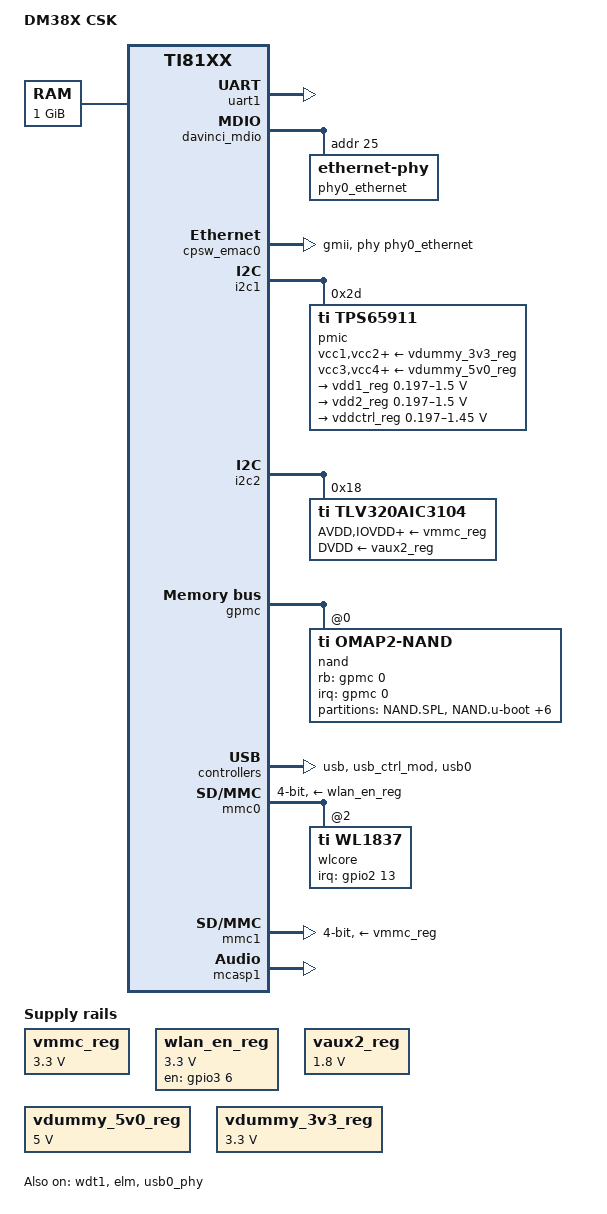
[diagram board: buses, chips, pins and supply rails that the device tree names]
/*
 * This program is free software; you can redistribute it and/or modify
 * it under the terms of the GNU General Public License version 2 as
 * published by the Free Software Foundation.
 */
/dts-v1/;

#include "ti81xx.dtsi"
#include <dt-bindings/interrupt-controller/irq.h>

/ {
	model = "DM38X CSK";
	compatible = "ti,dm38x-csk", "ti,ti81xx";

	memory {
		device_type = "memory";
		reg = <0x80000000 0x40000000>;	/* 1 GB */
	};

	vmmc_reg: regulator@0 {
		/* TO DO */
		/* Confirm if max and min voltages need to be different */
		compatible = "regulator-fixed";
		regulator-name = "vmmc";
		regulator-min-microvolt = <3300000>;
		regulator-max-microvolt = <3300000>;
		regulator-always-on;
	};

	wlan_en_reg: fixedregulator@1 {
		compatible = "regulator-fixed";
		regulator-name = "wlan-en-regulator";
		regulator-min-microvolt = <3300000>;
		regulator-max-microvolt = <3300000>;
		startup-delay-us = <70000>;

		/* WLAN_EN GPIO for this board GP2[6] */
		/* gpio0-gpio3 are defined as gpio1-gpio4 in ti81xx.dtsi.*/
		gpio = <&gpio3 6 GPIO_ACTIVE_HIGH>;
		enable-active-high;
	};

	vaux2_reg: regulator@10 {
		compatible = "regulator-fixed";
		regulator-name = "vaux2";
		regulator-min-microvolt = <1800000>;
		regulator-max-microvolt = <1800000>;
		regulator-always-on;
	};

	vdummy_5v0_reg: regulator@11 {
		compatible = "regulator-fixed";
		regulator-name = "vdummy_5v0";
		regulator-min-microvolt = <5000000>;
		regulator-max-microvolt = <5000000>;
		regulator-always-on;
	};

	vdummy_3v3_reg: regulator@12 {
		compatible = "regulator-fixed";
		regulator-name = "vdummy_3v3";
		regulator-min-microvolt = <3300000>;
		regulator-max-microvolt = <3300000>;
		regulator-always-on;
	};

	sound {
		compatible = "ti,ti81xx-audio";
		ti,model = "TI81XX-CSK";
		ti,audio-codec = <&tlv320aic3104>;
		ti,mcasp-controller = <&mcasp1>;
		ti,codec-clock-rate = <24576000>;
		ti,audio-routing =
			"MIC2L", "Mic Bias",
			"MIC2R", "Mic Bias";
	};

	cpus {
		cpu@0 {
			cpu-supply = <&vdd1_reg>;
		};
	};
};

&ti81xx_pincntl {
	nandflash_pins_s0: nandflash_pins_s0 {
		pinctrl-single,pins = <
			0x1FC (PULL_UP | MUX_MODE0)/* GPMC_ADV_ALE */
			0x1E4 (PULL_UP | MUX_MODE0)/* GPMC_CS0 */
			0x1F0 (PULL_UP | MUX_MODE0)/* GPMC_CS3 */
			0x160 (MUX_MODE0)/* GPMC_D0-D15 */
			0x164 (MUX_MODE0)
			0x168 (MUX_MODE0)
			0x16C (MUX_MODE0)
			0x170 (MUX_MODE0)
			0x174 (MUX_MODE0)
			0x178 (MUX_MODE0)
			0x17C (MUX_MODE0)
			0x180 (MUX_MODE0)
			0x184 (MUX_MODE0)
			0x188 (MUX_MODE0)
			0x18C (MUX_MODE0)
			0x190 (MUX_MODE0)
			0x194 (MUX_MODE0)
			0x198 (MUX_MODE0)
			0x19C (MUX_MODE0)
			0x200 (PULL_UP | MUX_MODE0)/* GPMC_OE_RE */
			0x204 (PULL_UP | MUX_MODE0)/* GPMC_WE */
			0x208 (PULL_DOWN | MUX_MODE0)/* GPMC_BE0_CLE */
			0x210 (PULL_UP | MUX_MODE0)
		>;
	};

	i2c0_pins: pinmux_i2c0_pins{
		pinctrl-single,pins =<
			0x418 (PULL_UP | MUX_MODE0)
			0x41c (PULL_UP | MUX_MODE0)
		>;
	};

	mmc0_pins: pinmux_mmc0_pins {
		pinctrl-single,pins = <
			0x1C (PULL_UP | MUX_MODE0)      /* SD0_CLK */
			0x20 (PULL_UP | MUX_MODE0)      /* SD0_CMD */
			0x24 (PULL_UP | MUX_MODE0)      /* SD0_DAT[0] */
			0x28 (PULL_UP | MUX_MODE0)      /* SD0_DAT[1] */
			0x2C (PULL_UP | MUX_MODE0)      /* SD0_DAT[2] */
			0x30 (PULL_UP | MUX_MODE0)      /* SD0_DAT[3] */
		>;
	};

	wlan_pins_default: pinmux_wlan_pins_default {
		pinctrl-single,pins = <
			0x1A4 (MUX_MODE7)		/* GP2[6] Ball:M2 WLAN_EN. OUTPUT PULLDOWN */
			0x1A8 (PULL_UP | MUX_MODE7) 	/* GP1[13] Ball:M3 WLAN_IRQ. INPUT PULLUP */
		>;
	};

	/* BT pins need to be in right state even if BT is not used, else they can interfere with WLAN operation */
	bt_pins_default: pinmux_bt_pins_default {
		pinctrl-single,pins = <
			0x1A0 (MUX_MODE7)		/* GP2[5] Ball:M1 BT_EN. OUTPUT PULLDOWN */
			0x54  (PULL_UP | MUX_MODE0)	/* MCA[0]_AXR[1] Ball:AE31 Connects to BT_AUD_OUT Input pin PULLDOWN */
		>;
	};

	mmc1_pins: pinmux_mmc1_pins {
		pinctrl-single,pins = <
			0x00 (PULL_UP | MUX_MODE0)      /* SD1_CLK */
			0x04 (PULL_UP | MUX_MODE0)      /* SD1_CMD */
			0x08 (PULL_UP | MUX_MODE0)      /* SD1_DAT[0] */
			0x0C (PULL_UP | MUX_MODE0)      /* SD1_DAT[1] */
			0x10 (PULL_UP | MUX_MODE0)      /* SD1_DAT[2] */
			0x14 (PULL_UP | MUX_MODE0)      /* SD1_DAT[3] */
			0x13C (PULL_UP | MUX_MODE1)     /* SD1_SDCD */
		>;
	};

	usb0_pins: pinmux_usb0_pins {
		pinctrl-single,pins = < 0x434 (PULL_UP | MUX_MODE0) >;
	};

	i2c1_pins: pinmux_i2c1_pins{
		pinctrl-single,pins =<
			0x134 (MUX_MODE0)
			0x138 (MUX_MODE0)
		>;
	};

	mcasp1_pins: pinmux_mcasp1_pins{
		pinctrl-single,pins =<
			0x038 (PULL_DOWN | MUX_MODE2)
			0x078 (PULL_DOWN | MUX_MODE0)
			0x07c (PULL_DOWN | MUX_MODE0)
			0x088 (PULL_DOWN | MUX_MODE0)
			0x08c (PULL_DOWN | MUX_MODE0)

		>;
	};

	tps65911_nmi_pin: pinmux_nmi_pin {
		pinctrl-single,pins = < 0x410 (PULL_UP | MUX_MODE0) >;
	};
};

&edma {
        ti,edma-memcpy-channels = <4 5 6 7 12 13 14 15 40 41 46 47 54 55 56 57 62 63>;
	ti,edma-reserved-slot-ranges = <0 2>, <4 4>, <12 12>, <26 13>, <40 2>, <46 2>, <54 4>, <62 2>;
};

&uart1 {
	status = "okay";
};

&wdt1 {
	status = "okay";
};

&davinci_mdio {
	phy0_ethernet: ethernet-phy@25 {
		reg = <25>;
		phy_mmd_indirect_write;
		ti,rx-internal-delay = <8>;
		ti,tx-internal-delay = <0xa>;
		ti,fifo-depth = <1>;
	};
};

&cpsw_emac0 {
	phy_id = <&davinci_mdio>, <25>;
	phy-mode = "gmii";
	phy-handle = <&phy0_ethernet>;
};

&i2c1 {
	pinctrl-names = "default";
	pinctrl-0 = <&i2c0_pins>, <&tps65911_nmi_pin>;

	pmic: tps65911@2d {
		compatible = "ti,tps65911";
		reg = <0x2d>;

		interrupts = <7>;
		#interrupt-cells = <2>;
		interrupt-controller;

		ti,system-power-controller;

		#gpio-cells = <2>;
		gpio-controller;

		vcc1-supply = <&vdummy_3v3_reg>;
		vcc2-supply = <&vdummy_3v3_reg>;
		vcc3-supply = <&vdummy_5v0_reg>;
		vcc4-supply = <&vdummy_5v0_reg>;
		vcc5-supply = <&vdummy_5v0_reg>;
		vcc6-supply = <&vdummy_3v3_reg>;
		vcc7-supply = <&vdummy_5v0_reg>;
		vccio-supply = <&vdummy_3v3_reg>;

		regulators {
			#address-cells = <1>;
			#size-cells = <0>;

			vdd1_reg: vdd1 {
				regulator-name = "tps_cvdd_arm";
				regulator-min-microvolt = <0600000>;
				regulator-max-microvolt = <1500000>;
				regulator-always-on;
			};

			vdd2_reg: vdd2 {
				regulator-name = "tps_cvdd_hdvicp";
				regulator-min-microvolt = <0600000>;
				regulator-max-microvolt = <1500000>;
				regulator-always-on;
			};

			vddctrl_reg: vddctrl {
				regulator-name = "tps_core_cvdd";
				regulator-min-microvolt = <0600000>;
				regulator-max-microvolt = <1450000>;
				regulator-always-on;
			};
		};
	};

};

&i2c2 {
	pinctrl-names = "default";
	pinctrl-0 = <&i2c1_pins>;

	tlv320aic3104: tlv320aic3104@18 {
		#sound-dai-cells = <0>;
		compatible = "ti,tlv320aic3104";
		reg = <0x18>;
		ai3x-micbias-vg = <2>;
		status = "okay";
		AVDD-supply = <&vmmc_reg>;
		IOVDD-supply = <&vmmc_reg>;
		DRVDD-supply = <&vmmc_reg>;
		DVDD-supply = <&vaux2_reg>;

	};
};

&elm {
	status = "okay";
};

&gpmc {
	status = "okay";
	pinctrl-names = "default";
	pinctrl-0 = <&nandflash_pins_s0>;
	ranges = <0 0 0x08000000 0x10000000>;	/* CS0: 256MB for NAND */
	nand@0,0 {
		compatible = "ti,omap2-nand";
		reg = <0 0 4>; /* CS0, offset 0, IO size 4 */
		interrupt-parent = <&gpmc>;
		interrupts = <0 IRQ_TYPE_NONE>, /* fifoevent */
			     <1 IRQ_TYPE_NONE>;	/* termcount */
		rb-gpios = <&gpmc 0 GPIO_ACTIVE_HIGH>; /* gpmc_wait0 */
		ti,nand-ecc-opt = "bch8";
		ti,elm-id = <&elm>;
		nand-bus-width = <16>;
		gpmc,device-width = <2>;
		gpmc,sync-clk-ps = <0>;
		gpmc,cs-on-ns = <0>;
		gpmc,cs-rd-off-ns = <44>;
		gpmc,cs-wr-off-ns = <44>;
		gpmc,adv-on-ns = <6>;
		gpmc,adv-rd-off-ns = <34>;
		gpmc,adv-wr-off-ns = <44>;
		gpmc,we-on-ns = <0>;
		gpmc,we-off-ns = <36>;
		gpmc,oe-on-ns = <0>;
		gpmc,oe-off-ns = <54>;
		gpmc,access-ns = <63>;
		gpmc,rd-cycle-ns = <81>;
		gpmc,wr-cycle-ns = <81>;
		gpmc,bus-turnaround-ns = <0>;
		gpmc,cycle2cycle-delay-ns = <0>;
		gpmc,clk-activation-ns = <0>;
		gpmc,wr-access-ns = <36>;
		gpmc,wr-data-mux-bus-ns = <0>;
		/* MTD partition table */
		/* All SPL-* partitions are sized to minimal length
		 * which can be independently programmable. For
		 * NAND flash this is equal to size of erase-block */
		#address-cells = <1>;
		#size-cells = <1>;
		partition@0 {
			label = "NAND.SPL";
			reg = <0x00000000 0x000020000>;
		};
		partition@1 {
			label = "NAND.u-boot";
			reg = <0x00020000 0x00400000>;
		};
		partition@2 {
			label = "NAND.u-boot-env";
			reg = <0x00420000 0x00020000>;
		};
		partition@3 {
			label = "NAND.kernel";
			reg = <0x00440000 0x00600000>;
		};
		partition@4 {
			label = "NAND.file-system";
			reg = <0x00A40000 0x0C000000>;
		};
		partition@5 {
			label = "NAND.u-boot-spl-os";
			reg = <0x0CA40000 0x00040000>;
		};
                partition@6 {
                        label = "NAND.data";
                        reg = <0x0CA80000 0x00C00000>;
                };
                partition@7 {
                        label = "NAND.reserved";
                        reg = <0x0D680000 0x02980000>;
                };
	};
};


&usb {
	pinctrl-names = "default";
	pinctrl-0 = <&usb0_pins>;
	status = "okay";
};

&usb_ctrl_mod {
	status = "okay";
};

&usb0_phy {
	status = "okay";
};

&cppi41dma {
	status = "okay";
};

&usb0 {
	status = "okay";
};

&usb_dpll_div5_ck {
	clock-div = <1>;
};

&osc1_clkin_ck {
	clock-frequency = <27000000>;
};
&gmac0to1_mux_out_ck {
	clocks = <&satass_50m_ck>, <&sata1ss_50m_ck>;
};
&emac_rmii_fck {
	clocks = <&gmac0to1_mux_out_ck>, <&cpts_rft_div5_ck>;
};
&clkout_prcm_mux_ck {
	clocks = <&dummy_clk_ck>, <&usb_dpll_ck>,
		<&video0_dpll_ck>, <&rtc_divider_ck>;
};
&sys_clkout1 {
	clocks = <&clkout_prcm_ck>, <&satass_125m_ck>,
		<&pciess_125m_ck>, <&hdvpss_proc_d2_fck>,
		<&iss_dpll_d2_ck>, <&l3_dpll_ck>, <&devosc_ck>,
		<&osc1_clkin_ck>, <&mpu_ck>, <&dummy_clk_ck>,
		<&rcosc_32k_ck>;
};
&sys_clkout2 {
	clocks = <&clkout_prcm_ck>, <&satass_125m_ck>,
		<&pciess_125m_ck>, <&hdvpss_proc_d2_fck>,
		<&iss_dpll_d2_ck>, <&l3_dpll_ck>, <&devosc_ck>,
		<&osc1_clkin_ck>, <&mpu_ck>, <&dummy_clk_ck>,
		<&rcosc_32k_ck>;
};

&mmc0 {
	status = "okay";
	vmmc-supply = <&wlan_en_reg>;
	ti,needs-special-hs-handling;
	ti,non-removable;
        ti,dual-volt;
	bus-width = <4>;
	cap-power-off-card;
	keep-power-in-suspend;
	pinctrl-names = "default";
	pinctrl-0 = <&mmc0_pins &wlan_pins_default &bt_pins_default>;

	#address-cells = <1>;
	#size-cells = <0>;
	wlcore: wlcore@0 {
		compatible = "ti,wl1837";
		reg = <2>;
		/* WLAN_IRQ GPIO for this board GP1[13] */
		/* gpio0-gpio3 are defined as gpio1-gpio4 in ti81xx.dtsi.*/
		interrupt-parent = <&gpio2>;
		interrupts = <13 IRQ_TYPE_LEVEL_HIGH>;
	};
};

&mmc1 {
	status = "okay";
	vmmc-supply = <&vmmc_reg>;
	bus-width = <4>;
	pinctrl-names = "default";
	pinctrl-0 = <&mmc1_pins>;
};


&vpss {
	cpu_name = "CPU_DM813X";
};
&mcasp1 {
	pinctrl-names = "default";
	pinctrl-0 = <&mcasp1_pins>;
	#sound-dai-cells = <0>;
	status = "okay";
	op-mode = <0>;    /* MCASP_IIS_MODE */
	tdm-slots = <2>;
	tx-num-evt = <64>;
	rx-num-evt = <64>;
	serial-dir = <  /* 0: INACTIVE, 1: TX, 2: RX */
		1 2 0 0
		0 0 0 0
		0 0 0 0
		0 0 0 0
	>;

};
